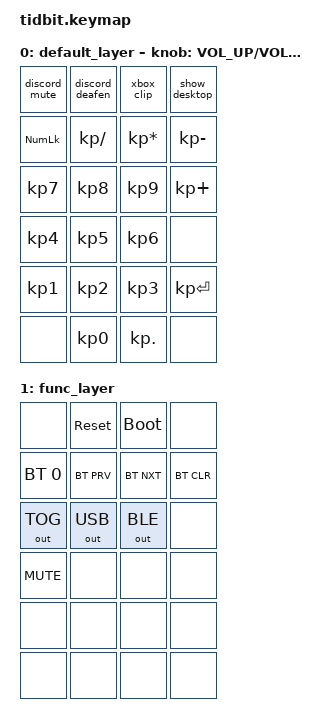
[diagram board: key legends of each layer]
/*
 * Handwired numpad + macro row (ZMK)
 * nice!nano v2
 */

#include <behaviors.dtsi>
#include <dt-bindings/zmk/bt.h>
#include <dt-bindings/zmk/keys.h>
#include <dt-bindings/zmk/outputs.h>

&encoder_4 {
    status = "okay";
};

&sensors {
    sensors = <&encoder_4>;
};

/ {
    macros {

        discord_mute: discord_mute {
            compatible = "zmk,behavior-macro";
            #binding-cells = <0>;
            bindings =
                <&macro_press &kp LCTRL>,
                <&macro_press &kp LSHIFT>,
                <&kp COMMA>,
                <&macro_release &kp LSHIFT>,
                <&macro_release &kp LCTRL>;
        };

        discord_deafen: discord_deafen {
            compatible = "zmk,behavior-macro";
            #binding-cells = <0>;
            bindings =
                <&macro_press &kp LCTRL>,
                <&macro_press &kp LSHIFT>,
                <&kp DOT>,
                <&macro_release &kp LSHIFT>,
                <&macro_release &kp LCTRL>;
        };

        xbox_clip: xbox_clip {
            compatible = "zmk,behavior-macro";
            #binding-cells = <0>;
            bindings =
                <&macro_press &kp LGUI>,
                <&macro_press &kp LALT>,
                <&kp G>,
                <&macro_release &kp LALT>,
                <&macro_release &kp LGUI>;
        };

        show_desktop: show_desktop {
            compatible = "zmk,behavior-macro";
            #binding-cells = <0>;
            bindings =
                <&macro_press &kp LGUI>,
                <&kp D>,
                <&macro_release &kp LGUI>;
        };
    };

    keymap {
        compatible = "zmk,keymap";

        default_layer {
            bindings = <

                /* ROW 0 — MACROS */
                &discord_mute   &discord_deafen   &xbox_clip     &show_desktop

                /* ROW 1 */
                &kp KP_NUMLOCK  &kp KP_SLASH      &kp KP_ASTERISK  &kp KP_MINUS

                /* ROW 2 */
                &kp KP_N7       &kp KP_N8         &kp KP_N9        &kp KP_PLUS

                /* ROW 3 */
                &kp KP_N4       &kp KP_N5         &kp KP_N6        &none

                /* ROW 4 */
                &kp KP_N1       &kp KP_N2         &kp KP_N3        &kp KP_ENTER

                /* ROW 5 */
                &none           &kp KP_N0         &kp KP_DOT       &none
            >;

            sensor-bindings = <&inc_dec_kp C_VOLUME_UP C_VOLUME_DOWN>;
        };

        func_layer {
            bindings = <
                &none        &sys_reset     &bootloader    &none
                &bt BT_SEL 0 &bt BT_PRV     &bt BT_NXT     &bt BT_CLR
                &out OUT_TOG &out OUT_USB   &out OUT_BLE   &none
                &kp C_MUTE   &none          &none          &none
                &none        &none          &none          &none
                &none        &none          &none          &none
            >;
        };
    };
};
